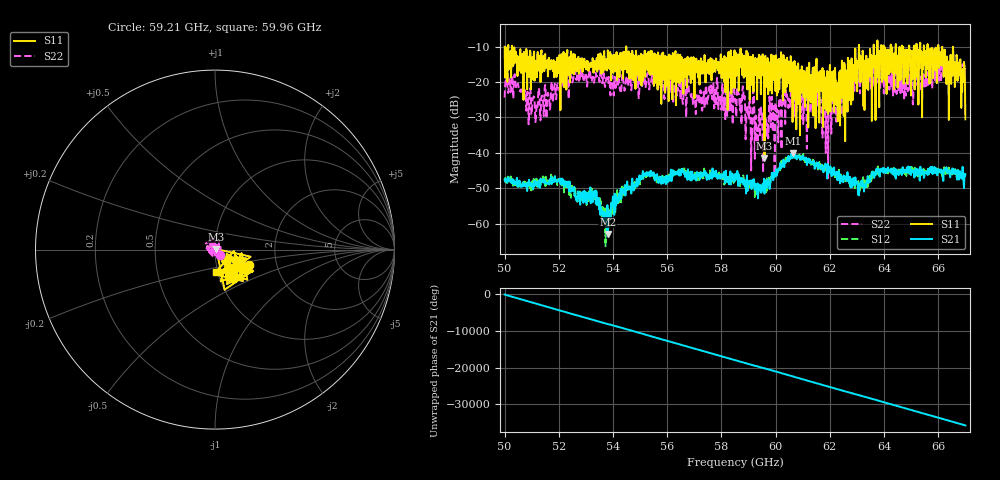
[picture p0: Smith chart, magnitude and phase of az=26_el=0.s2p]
!Created with skrf (http://scikit-rf.org).
# GHz S RI R 50.0
!freq ReS11 ImS11 ReS21 ImS21 ReS12 ImS12 ReS22 ImS22
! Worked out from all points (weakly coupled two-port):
!   1001 points, 50 GHz to 67 GHz, reference 50 ohm
!   highest |S21| = -39.98 dB at 60.64 GHz (marker M1); lowest = -62.9 dB at 53.81 GHz (marker M2)
!   lowest |S11| = -41.4 dB at 59.59 GHz (marker M3), VSWR 1.02, Z = 50.8 + j0.284 ohm
!   |S11| at or under -10 dB: 50.27 GHz to 54.49 GHz (4.215 GHz wide, 8.05 % of centre); 54.49 GHz to 63.07 GHz (8.583 GHz wide, 14.6 % of centre); 66.01 GHz to end of sweep (the widest 3 of 19)
!   |S22| runs from -47.2 to -13.8 dB; largest |S21 - S12| = 0.0024
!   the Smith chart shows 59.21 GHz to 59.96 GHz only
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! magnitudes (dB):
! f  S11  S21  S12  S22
! 50 GHz  -10.1  -47.5  -47.7  -24.4
! 50.42 GHz  -14.4  -48.8  -48.2  -21.5
! 51.38 GHz  -17.3  -48.1  -48.2  -24.1
! 52.84 GHz  -14.2  -52.2  -52.4  -18.7
! 53.3 GHz  -15.2  -51.1  -51.5  -20.2
! 53.81 GHz  -11.0  -62.9  -57.4  -19.8
! 54.42 GHz  -16.4  -51.3  -51.0  -22.5
! 55.68 GHz  -13.5  -48.5  -47.5  -21.9
! 58.5 GHz  -21.7  -47.5  -48.2  -25.2
! 59.59 GHz  -41.4  -51.5  -48.4  -28.8
! 59.84 GHz  -12.2  -46.9  -47.1  -25.2
! 60.03 GHz  -14.3  -46.5  -45.5  -30.4
! 60.64 GHz  -14.4  -40.0  -40.7  -22.7
! 61.34 GHz  -24.9  -42.6  -43.0  -25.9
! 62 GHz  -15.2  -43.9  -44.3  -25.5
! 62.56 GHz  -36.7  -46.9  -46.8  -19.8
! 63.06 GHz  -16.0  -50.1  -47.9  -17.5
! 64.18 GHz  -17.8  -44.7  -44.5  -18.4
! 66.08 GHz  -15.1  -44.7  -45.0  -15.4
! 66.39 GHz  -30.7  -45.4  -44.1  -17.1
! 66.75 GHz  -18.2  -46.0  -45.8  -18.5
! 67 GHz  -30.5  -46.0  -47.1  -16.0
